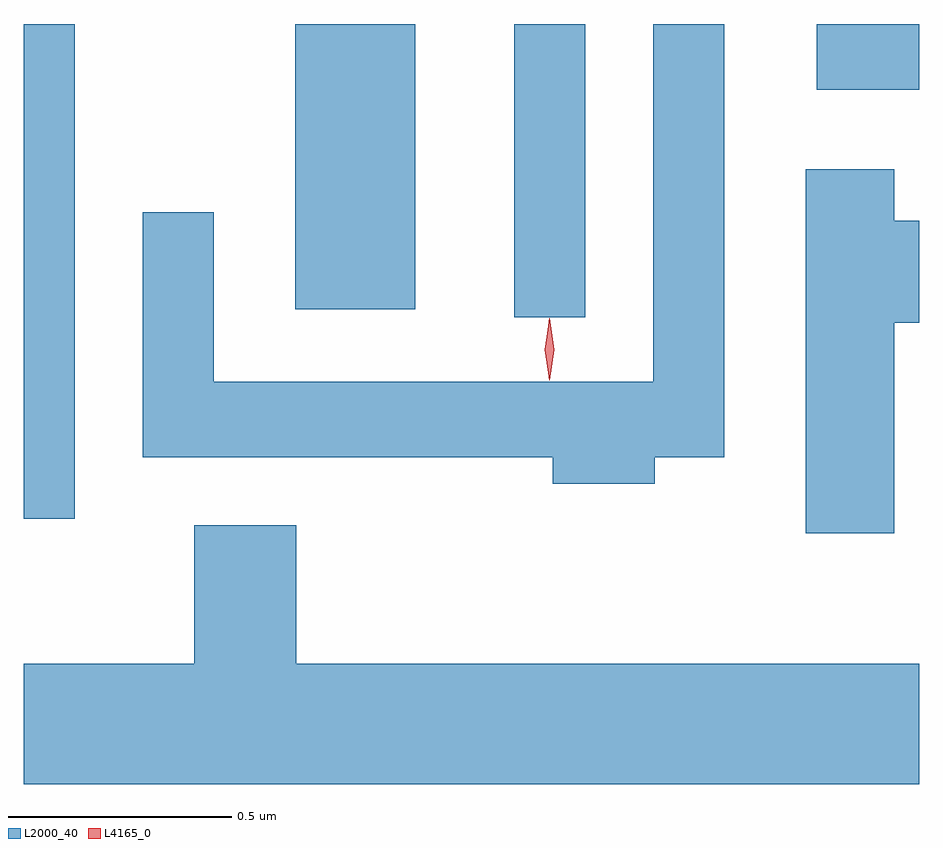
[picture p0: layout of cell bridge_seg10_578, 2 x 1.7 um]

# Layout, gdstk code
import gdstk
lib = gdstk.Library(unit=1e-6, precision=1e-09)
def R(c, l, rs):  # rectangles x0, y0, x1, y1
    for r in rs: c.add(gdstk.rectangle(r[:2], r[2:], *l))
def P(c, l, *ps):  # polygons
    for p in ps: c.add(gdstk.Polygon(p, *l))
L2000_40 = (2000, 40)
L4165_0 = (4165, 0)

bridge_seg10_578 = lib.new_cell('bridge_seg10_578')
R(bridge_seg10_578, L2000_40, [(770.03,2165.568,770.144,2166.673), (771.126,2166.018,771.284,2166.673), (770.636,2166.036,770.904,2166.673), (771.801,2166.526,772.03,2166.673)])
P(bridge_seg10_578, L2000_40, [(771.439,2165.706),(771.594,2165.706),(771.594,2166.673),(771.436,2166.673),(771.436,2165.874),(770.454,2165.874),(770.454,2166.253),(770.296,2166.253),(770.296,2165.706),(771.211,2165.706),(771.211,2165.646),(771.439,2165.646)],
  [(771.974,2166.006),(772.03,2166.006),(772.03,2166.234),(771.974,2166.234),(771.974,2166.349),(771.776,2166.349),(771.776,2165.536),(771.974,2165.536)],
  [(772.03,2165.244),(770.639,2165.244),(770.639,2165.554),(770.411,2165.554),(770.411,2165.244),(770.03,2165.244),(770.03,2164.976),(772.03,2164.976)])
P(bridge_seg10_578, L4165_0, [(771.204,2165.877),(771.195,2165.946),(771.204,2166.016),(771.205,2166.016),(771.205,2166.016),(771.215,2165.946),(771.205,2165.877),(771.205,2165.877)],
  [(771.204,2165.879),(771.204,2165.88),(771.194,2165.946),(771.204,2166.012),(771.204,2166.013),(771.205,2166.012),(771.214,2165.946),(771.205,2165.88)])

lib.write_gds('bridge_seg10_578.gds')
